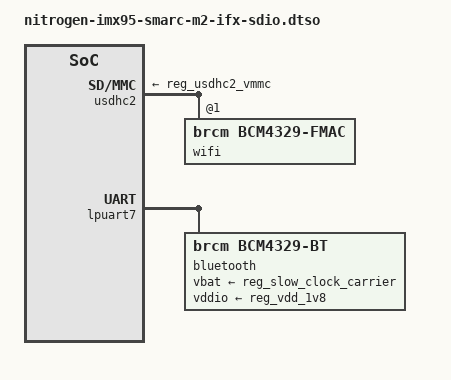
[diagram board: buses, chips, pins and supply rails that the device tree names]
// SPDX-License-Identifier: (GPL-2.0+ OR MIT)
/*
 * SDIO LWBxx & IFxxx module
 *
 * Copyright (C) 2024 Ezurio LLC
 */

/dts-v1/;
/plugin/;

// M.2 SDIO is disabled by default on SMARC carrier board
// requires switching 0 Ohm resistors to enable	

&reg_usdhc2_vmmc {
	vin-supply = <&reg_slow_clock_carrier>;

	startup-delay-us = <250000>;
	off-on-delay-us = <100>;
};

&usdhc2 {
	vmmc-supply = <&reg_usdhc2_vmmc>;

	#address-cells = <1>;
	#size-cells = <0>;

	wifi@1 {
		reg = <1>;
		compatible = "brcm,bcm4329-fmac";
	};
};

&lpuart7 {
	status = "okay";

	bluetooth {
		compatible = "brcm,bcm4329-bt";
		vbat-supply = <&reg_slow_clock_carrier>;
		vddio-supply = <&reg_vdd_1v8>;
		brcm,requires-autobaud-mode;
		max-speed = <3000000>;
	};
};
